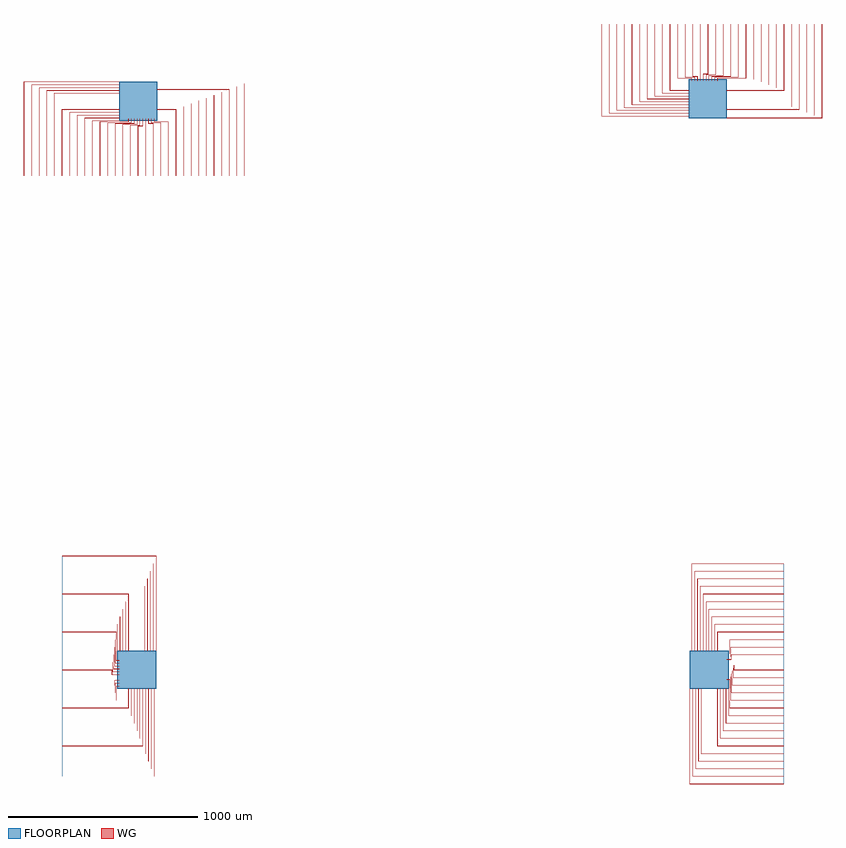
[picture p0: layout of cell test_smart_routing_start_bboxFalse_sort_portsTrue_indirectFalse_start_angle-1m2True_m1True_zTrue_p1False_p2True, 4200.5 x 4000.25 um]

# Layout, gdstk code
import gdstk
lib = gdstk.Library(unit=1e-6, precision=1e-09)
def R(c, l, rs):  # rectangles x0, y0, x1, y1
    for r in rs: c.add(gdstk.rectangle(r[:2], r[2:], *l))
def P(c, l, *ps):  # polygons
    for p in ps: c.add(gdstk.Polygon(p, *l))
WG = (1, 0)
FLOORPLAN = (10, 0)

test_smart_routing_start = lib.new_cell('test_smart_routing_start_bboxFalse_sort_portsTrue_indirectFalse_start_angle-1m2True_m1True_zTrue_p1False_p2True')
R(test_smart_routing_start, WG, [(-400,-40.25,-100,-39.75), (3100,39.75,3400,40.25), (39.75,2600,40.25,2900), (2959.75,3100,2960.25,3400)])
P(test_smart_routing_start, WG, [(3100,2904.75),(3100,2905.25),(3599.75,2905.25),(3599.75,3400),(3600.25,3400),(3600.25,2904.75)],
  [(3100,2919.75),(3100,2920.25),(3559.75,2920.25),(3559.75,3400),(3560.25,3400),(3560.25,2919.75)],
  [(3100,2934.75),(3100,2935.25),(3519.75,2935.25),(3519.75,3400),(3520.25,3400),(3520.25,2934.75)],
  [(3100,2949.75),(3100,2950.25),(3479.75,2950.25),(3479.75,3400),(3480.25,3400),(3480.25,2949.75)],
  [(3100,2964.75),(3100,2965.25),(3439.75,2965.25),(3439.75,3400),(3440.25,3400),(3440.25,2964.75)],
  [(3100,3049.75),(3100,3050.25),(3399.75,3050.25),(3399.75,3400),(3400.25,3400),(3400.25,3049.75)],
  [(3100,3064.75),(3100,3065.25),(3359.75,3065.25),(3359.75,3400),(3360.25,3400),(3360.25,3064.75)],
  [(3100,3079.75),(3100,3080.25),(3319.75,3080.25),(3319.75,3400),(3320.25,3400),(3320.25,3079.75)],
  [(3100,3094.75),(3100,3095.25),(3279.75,3095.25),(3279.75,3400),(3280.25,3400),(3280.25,3094.75)],
  [(3100,3109.75),(3100,3110.25),(3239.75,3110.25),(3239.75,3400),(3240.25,3400),(3240.25,3109.75)],
  [(3049.75,3100),(3049.75,3114.75),(3199.75,3114.75),(3199.75,3400),(3200.25,3400),(3200.25,3114.25),(3050.25,3114.25),(3050.25,3100)],
  [(3034.75,3100),(3034.75,3119.25),(3159.75,3119.25),(3159.75,3400),(3160.25,3400),(3160.25,3118.75),(3035.25,3118.75),(3035.25,3100)],
  [(3019.75,3100),(3019.75,3123.75),(3119.75,3123.75),(3119.75,3400),(3120.25,3400),(3120.25,3123.25),(3020.25,3123.25),(3020.25,3100)],
  [(3004.75,3100),(3004.75,3128.25),(3079.75,3128.25),(3079.75,3400),(3080.25,3400),(3080.25,3127.75),(3005.25,3127.75),(3005.25,3100)],
  [(2989.75,3100),(2989.75,3132.75),(3039.75,3132.75),(3039.75,3400),(3040.25,3400),(3040.25,3132.25),(2990.25,3132.25),(2990.25,3100)],
  [(2974.75,3100),(2974.75,3137.25),(2999.75,3137.25),(2999.75,3400),(3000.25,3400),(3000.25,3136.75),(2975.25,3136.75),(2975.25,3100)],
  [(2944.75,3100),(2944.75,3123.25),(2919.75,3123.25),(2919.75,3400),(2920.25,3400),(2920.25,3123.75),(2945.25,3123.75),(2945.25,3100)],
  [(2929.75,3100),(2929.75,3118.75),(2879.75,3118.75),(2879.75,3400),(2880.25,3400),(2880.25,3119.25),(2930.25,3119.25),(2930.25,3100)],
  [(2914.75,3100),(2914.75,3114.25),(2839.75,3114.25),(2839.75,3400),(2840.25,3400),(2840.25,3114.75),(2915.25,3114.75),(2915.25,3100)],
  [(2799.75,3049.75),(2799.75,3400),(2800.25,3400),(2800.25,3050.25),(2900,3050.25),(2900,3049.75)],
  [(2759.75,3034.75),(2759.75,3400),(2760.25,3400),(2760.25,3035.25),(2900,3035.25),(2900,3034.75)],
  [(2719.75,3019.75),(2719.75,3400),(2720.25,3400),(2720.25,3020.25),(2900,3020.25),(2900,3019.75)],
  [(2679.75,3004.75),(2679.75,3400),(2680.25,3400),(2680.25,3005.25),(2900,3005.25),(2900,3004.75)],
  [(2639.75,2989.75),(2639.75,3400),(2640.25,3400),(2640.25,2990.25),(2900,2990.25),(2900,2989.75)],
  [(2599.75,2974.75),(2599.75,3400),(2600.25,3400),(2600.25,2975.25),(2900,2975.25),(2900,2974.75)],
  [(2559.75,2959.75),(2559.75,3400),(2560.25,3400),(2560.25,2960.25),(2900,2960.25),(2900,2959.75)],
  [(2519.75,2944.75),(2519.75,3400),(2520.25,3400),(2520.25,2945.25),(2900,2945.25),(2900,2944.75)],
  [(2479.75,2929.75),(2479.75,3400),(2480.25,3400),(2480.25,2930.25),(2900,2930.25),(2900,2929.75)],
  [(2439.75,2914.75),(2439.75,3400),(2440.25,3400),(2440.25,2915.25),(2900,2915.25),(2900,2914.75)],
  [(-600.25,2600),(-600.25,3095.25),(-100,3095.25),(-100,3094.75),(-599.75,3094.75),(-599.75,2600)],
  [(-560.25,2600),(-560.25,3080.25),(-100,3080.25),(-100,3079.75),(-559.75,3079.75),(-559.75,2600)],
  [(-520.25,2600),(-520.25,3065.25),(-100,3065.25),(-100,3064.75),(-519.75,3064.75),(-519.75,2600)],
  [(-480.25,2600),(-480.25,3050.25),(-100,3050.25),(-100,3049.75),(-479.75,3049.75),(-479.75,2600)],
  [(-440.25,2600),(-440.25,3035.25),(-100,3035.25),(-100,3034.75),(-439.75,3034.75),(-439.75,2600)],
  [(-400.25,2600),(-400.25,2950.25),(-100,2950.25),(-100,2949.75),(-399.75,2949.75),(-399.75,2600)],
  [(-360.25,2600),(-360.25,2935.25),(-100,2935.25),(-100,2934.75),(-359.75,2934.75),(-359.75,2600)],
  [(-320.25,2600),(-320.25,2920.25),(-100,2920.25),(-100,2919.75),(-319.75,2919.75),(-319.75,2600)],
  [(-280.25,2600),(-280.25,2905.25),(-100,2905.25),(-100,2904.75),(-279.75,2904.75),(-279.75,2600)],
  [(-240.25,2600),(-240.25,2890.25),(-100,2890.25),(-100,2889.75),(-239.75,2889.75),(-239.75,2600)],
  [(-200.25,2600),(-200.25,2885.75),(-50.25,2885.75),(-50.25,2900),(-49.75,2900),(-49.75,2885.25),(-199.75,2885.25),(-199.75,2600)],
  [(-160.25,2600),(-160.25,2881.25),(-35.25,2881.25),(-35.25,2900),(-34.75,2900),(-34.75,2880.75),(-159.75,2880.75),(-159.75,2600)],
  [(-120.25,2600),(-120.25,2876.75),(-20.25,2876.75),(-20.25,2900),(-19.75,2900),(-19.75,2876.25),(-119.75,2876.25),(-119.75,2600)],
  [(-80.25,2600),(-80.25,2872.25),(-5.25,2872.25),(-5.25,2900),(-4.75,2900),(-4.75,2871.75),(-79.75,2871.75),(-79.75,2600)],
  [(-40.25,2600),(-40.25,2867.75),(9.75,2867.75),(9.75,2900),(10.25,2900),(10.25,2867.25),(-39.75,2867.25),(-39.75,2600)],
  [(-0.25,2600),(-0.25,2863.25),(24.75,2863.25),(24.75,2900),(25.25,2900),(25.25,2862.75),(0.25,2862.75),(0.25,2600)],
  [(79.75,2600),(79.75,2876.25),(54.75,2876.25),(54.75,2900),(55.25,2900),(55.25,2876.75),(80.25,2876.75),(80.25,2600)],
  [(119.75,2600),(119.75,2880.75),(69.75,2880.75),(69.75,2900),(70.25,2900),(70.25,2881.25),(120.25,2881.25),(120.25,2600)],
  [(159.75,2600),(159.75,2885.25),(84.75,2885.25),(84.75,2900),(85.25,2900),(85.25,2885.75),(160.25,2885.75),(160.25,2600)],
  [(199.75,2600),(199.75,2949.75),(100,2949.75),(100,2950.25),(200.25,2950.25),(200.25,2600)],
  [(239.75,2600),(239.75,2964.75),(100,2964.75),(100,2965.25),(240.25,2965.25),(240.25,2600)],
  [(279.75,2600),(279.75,2979.75),(100,2979.75),(100,2980.25),(280.25,2980.25),(280.25,2600)],
  [(319.75,2600),(319.75,2994.75),(100,2994.75),(100,2995.25),(320.25,2995.25),(320.25,2600)],
  [(359.75,2600),(359.75,3009.75),(100,3009.75),(100,3010.25),(360.25,3010.25),(360.25,2600)],
  [(399.75,2600),(399.75,3024.75),(100,3024.75),(100,3025.25),(400.25,3025.25),(400.25,2600)],
  [(439.75,2600),(439.75,3039.75),(100,3039.75),(100,3040.25),(440.25,3040.25),(440.25,2600)],
  [(479.75,2600),(479.75,3054.75),(100,3054.75),(100,3055.25),(480.25,3055.25),(480.25,2600)],
  [(519.75,2600),(519.75,3069.75),(100,3069.75),(100,3070.25),(520.25,3070.25),(520.25,2600)],
  [(559.75,2600),(559.75,3084.75),(100,3084.75),(100,3085.25),(560.25,3085.25),(560.25,2600)],
  [(94.75,100),(94.75,599.75),(-400,599.75),(-400,600.25),(95.25,600.25),(95.25,100)],
  [(79.75,100),(79.75,559.75),(-400,559.75),(-400,560.25),(80.25,560.25),(80.25,100)],
  [(64.75,100),(64.75,519.75),(-400,519.75),(-400,520.25),(65.25,520.25),(65.25,100)],
  [(49.75,100),(49.75,479.75),(-400,479.75),(-400,480.25),(50.25,480.25),(50.25,100)],
  [(34.75,100),(34.75,439.75),(-400,439.75),(-400,440.25),(35.25,440.25),(35.25,100)],
  [(-50.25,100),(-50.25,399.75),(-400,399.75),(-400,400.25),(-49.75,400.25),(-49.75,100)],
  [(-65.25,100),(-65.25,359.75),(-400,359.75),(-400,360.25),(-64.75,360.25),(-64.75,100)],
  [(-80.25,100),(-80.25,319.75),(-400,319.75),(-400,320.25),(-79.75,320.25),(-79.75,100)],
  [(-95.25,100),(-95.25,279.75),(-400,279.75),(-400,280.25),(-94.75,280.25),(-94.75,100)],
  [(-110.25,100),(-110.25,239.75),(-400,239.75),(-400,240.25),(-109.75,240.25),(-109.75,100)],
  [(-114.75,49.75),(-114.75,199.75),(-400,199.75),(-400,200.25),(-114.25,200.25),(-114.25,50.25),(-100,50.25),(-100,49.75)],
  [(-119.25,34.75),(-119.25,159.75),(-400,159.75),(-400,160.25),(-118.75,160.25),(-118.75,35.25),(-100,35.25),(-100,34.75)],
  [(-123.75,19.75),(-123.75,119.75),(-400,119.75),(-400,120.25),(-123.25,120.25),(-123.25,20.25),(-100,20.25),(-100,19.75)],
  [(-128.25,4.75),(-128.25,79.75),(-400,79.75),(-400,80.25),(-127.75,80.25),(-127.75,5.25),(-100,5.25),(-100,4.75)],
  [(-132.75,-10.25),(-132.75,39.75),(-400,39.75),(-400,40.25),(-132.25,40.25),(-132.25,-9.75),(-100,-9.75),(-100,-10.25)],
  [(-137.25,-25.25),(-137.25,-0.25),(-400,-0.25),(-400,0.25),(-136.75,0.25),(-136.75,-24.75),(-100,-24.75),(-100,-25.25)],
  [(-400,-80.25),(-400,-79.75),(-123.75,-79.75),(-123.75,-54.75),(-100,-54.75),(-100,-55.25),(-123.25,-55.25),(-123.25,-80.25)],
  [(-400,-120.25),(-400,-119.75),(-119.25,-119.75),(-119.25,-69.75),(-100,-69.75),(-100,-70.25),(-118.75,-70.25),(-118.75,-120.25)],
  [(-400,-160.25),(-400,-159.75),(-114.75,-159.75),(-114.75,-84.75),(-100,-84.75),(-100,-85.25),(-114.25,-85.25),(-114.25,-160.25)],
  [(-400,-200.25),(-400,-199.75),(-50.25,-199.75),(-50.25,-100),(-49.75,-100),(-49.75,-200.25)],
  [(-400,-240.25),(-400,-239.75),(-35.25,-239.75),(-35.25,-100),(-34.75,-100),(-34.75,-240.25)],
  [(-400,-280.25),(-400,-279.75),(-20.25,-279.75),(-20.25,-100),(-19.75,-100),(-19.75,-280.25)],
  [(-400,-320.25),(-400,-319.75),(-5.25,-319.75),(-5.25,-100),(-4.75,-100),(-4.75,-320.25)],
  [(-400,-360.25),(-400,-359.75),(9.75,-359.75),(9.75,-100),(10.25,-100),(10.25,-360.25)],
  [(-400,-400.25),(-400,-399.75),(24.75,-399.75),(24.75,-100),(25.25,-100),(25.25,-400.25)],
  [(-400,-440.25),(-400,-439.75),(39.75,-439.75),(39.75,-100),(40.25,-100),(40.25,-440.25)],
  [(-400,-480.25),(-400,-479.75),(54.75,-479.75),(54.75,-100),(55.25,-100),(55.25,-480.25)],
  [(-400,-520.25),(-400,-519.75),(69.75,-519.75),(69.75,-100),(70.25,-100),(70.25,-520.25)],
  [(-400,-560.25),(-400,-559.75),(84.75,-559.75),(84.75,-100),(85.25,-100),(85.25,-560.25)],
  [(2904.75,-600.25),(2904.75,-100),(2905.25,-100),(2905.25,-599.75),(3400,-599.75),(3400,-600.25)],
  [(2919.75,-560.25),(2919.75,-100),(2920.25,-100),(2920.25,-559.75),(3400,-559.75),(3400,-560.25)],
  [(2934.75,-520.25),(2934.75,-100),(2935.25,-100),(2935.25,-519.75),(3400,-519.75),(3400,-520.25)],
  [(2949.75,-480.25),(2949.75,-100),(2950.25,-100),(2950.25,-479.75),(3400,-479.75),(3400,-480.25)],
  [(2964.75,-440.25),(2964.75,-100),(2965.25,-100),(2965.25,-439.75),(3400,-439.75),(3400,-440.25)],
  [(3049.75,-400.25),(3049.75,-100),(3050.25,-100),(3050.25,-399.75),(3400,-399.75),(3400,-400.25)],
  [(3064.75,-360.25),(3064.75,-100),(3065.25,-100),(3065.25,-359.75),(3400,-359.75),(3400,-360.25)],
  [(3079.75,-320.25),(3079.75,-100),(3080.25,-100),(3080.25,-319.75),(3400,-319.75),(3400,-320.25)],
  [(3094.75,-280.25),(3094.75,-100),(3095.25,-100),(3095.25,-279.75),(3400,-279.75),(3400,-280.25)],
  [(3109.75,-240.25),(3109.75,-100),(3110.25,-100),(3110.25,-239.75),(3400,-239.75),(3400,-240.25)],
  [(3114.25,-200.25),(3114.25,-50.25),(3100,-50.25),(3100,-49.75),(3114.75,-49.75),(3114.75,-199.75),(3400,-199.75),(3400,-200.25)],
  [(3118.75,-160.25),(3118.75,-35.25),(3100,-35.25),(3100,-34.75),(3119.25,-34.75),(3119.25,-159.75),(3400,-159.75),(3400,-160.25)],
  [(3123.25,-120.25),(3123.25,-20.25),(3100,-20.25),(3100,-19.75),(3123.75,-19.75),(3123.75,-119.75),(3400,-119.75),(3400,-120.25)],
  [(3127.75,-80.25),(3127.75,-5.25),(3100,-5.25),(3100,-4.75),(3128.25,-4.75),(3128.25,-79.75),(3400,-79.75),(3400,-80.25)],
  [(3132.25,-40.25),(3132.25,9.75),(3100,9.75),(3100,10.25),(3132.75,10.25),(3132.75,-39.75),(3400,-39.75),(3400,-40.25)],
  [(3136.75,-0.25),(3136.75,24.75),(3100,24.75),(3100,25.25),(3137.25,25.25),(3137.25,0.25),(3400,0.25),(3400,-0.25)],
  [(3100,54.75),(3100,55.25),(3123.25,55.25),(3123.25,80.25),(3400,80.25),(3400,79.75),(3123.75,79.75),(3123.75,54.75)],
  [(3100,69.75),(3100,70.25),(3118.75,70.25),(3118.75,120.25),(3400,120.25),(3400,119.75),(3119.25,119.75),(3119.25,69.75)],
  [(3100,84.75),(3100,85.25),(3114.25,85.25),(3114.25,160.25),(3400,160.25),(3400,159.75),(3114.75,159.75),(3114.75,84.75)],
  [(3049.75,100),(3049.75,200.25),(3400,200.25),(3400,199.75),(3050.25,199.75),(3050.25,100)],
  [(3034.75,100),(3034.75,240.25),(3400,240.25),(3400,239.75),(3035.25,239.75),(3035.25,100)],
  [(3019.75,100),(3019.75,280.25),(3400,280.25),(3400,279.75),(3020.25,279.75),(3020.25,100)],
  [(3004.75,100),(3004.75,320.25),(3400,320.25),(3400,319.75),(3005.25,319.75),(3005.25,100)],
  [(2989.75,100),(2989.75,360.25),(3400,360.25),(3400,359.75),(2990.25,359.75),(2990.25,100)],
  [(2974.75,100),(2974.75,400.25),(3400,400.25),(3400,399.75),(2975.25,399.75),(2975.25,100)],
  [(2959.75,100),(2959.75,440.25),(3400,440.25),(3400,439.75),(2960.25,439.75),(2960.25,100)],
  [(2944.75,100),(2944.75,480.25),(3400,480.25),(3400,479.75),(2945.25,479.75),(2945.25,100)],
  [(2929.75,100),(2929.75,520.25),(3400,520.25),(3400,519.75),(2930.25,519.75),(2930.25,100)],
  [(2914.75,100),(2914.75,560.25),(3400,560.25),(3400,559.75),(2915.25,559.75),(2915.25,100)])
R(test_smart_routing_start, FLOORPLAN, [(-110,-100,95,100), (2905,-100,3110,100), (-100,2890,100,3095), (2900,2905,3100,3110)])
P(test_smart_routing_start, FLOORPLAN, [(-400,-560),(-400,600),(-400,600),(-400,-560)],
  [(-600,2600),(-600,2600),(560,2600),(560,2600)],
  [(3400,-600),(3400,560),(3400,560),(3400,-600)],
  [(2440,3400),(2440,3400),(3600,3400),(3600,3400)])

lib.write_gds('test_smart_routing_start_bboxFalse_sort_portsTrue_indirectFalse_start_angle-1m2True_m1True_zTrue_p1False_p2True.gds')
